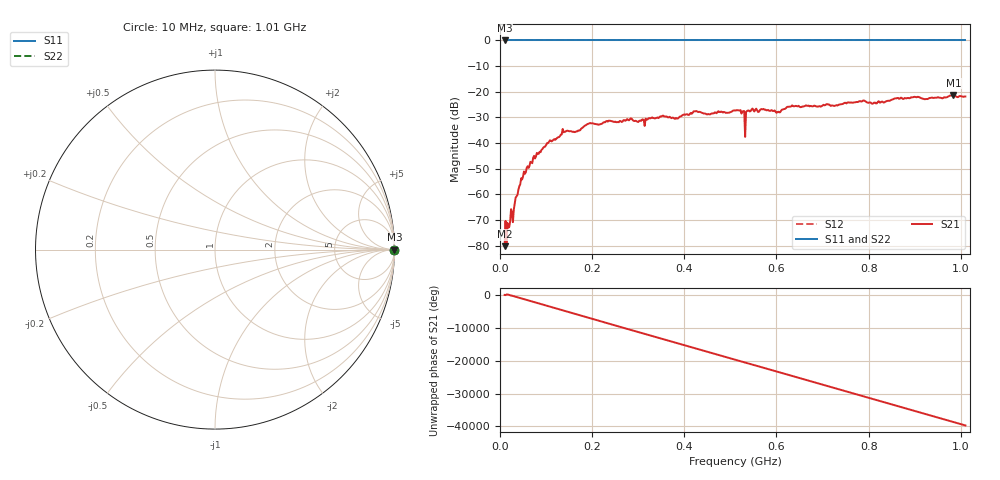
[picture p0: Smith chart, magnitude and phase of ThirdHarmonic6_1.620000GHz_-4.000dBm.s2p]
! 8/16/2025 7:20:35 PM
! C:\ANRITSUVNA\TEMP\TEMP.S2P
! CHANNEL.1
! TR.MEASUREMENT
! RAW.DATA
! RF.CORRECTION.OFF
! AVERAGING.OFF
! IF.BANDWIDTH: 5KHZ
! SWEEPTYPE:  FREQ.SWEEP(Linear)
! Reference Plane Port Info
! PORT:  PORT1  PORT2
! DISTANCE:  0  m  0  m
! TIME:  0  s  0  s
! PHASE.OFFSET:  0  deg.  0  deg.
! LOSS:  0  dB  0  dB
! REF.LOSS:  0  dB  0  dB
! REF.FREQ:  0  Hz  0  Hz
! Power Info
! POWER:  -20  dBm  -20  dBm
! EFF.POWER:  -20  dBm  -20  dBm
! SOURCE.ATTEN:  0  dB  0  dB
! TEST.ATTEN:  0  dB  0  dB
# GHZ S RI R 50.0
! FREQ.GHZ  S11RE  S11IM  S21RE  S21IM  S12RE  S12IM  S22RE  S22IM
!; PortSelection: Port_12
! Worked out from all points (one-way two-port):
!   501 points, 10 MHz to 1.01 GHz, reference 50 ohm
!   highest |S21| = -21.25 dB at 984 MHz (marker M1); lowest = -80.3 dB at 10 MHz (marker M2)
!   lowest |S11| = 0.0 dB at 10 MHz (marker M3)
!   |S11| at or under -10 dB: nowhere
!   |S22| runs from 0.0 to 0.0 dB; largest |S21 - S12| = 1.1
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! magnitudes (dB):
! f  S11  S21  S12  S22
! 10 MHz  0.0  -80.3  0.0  0.0
! 48 MHz  0.0  -54.2  0.0  0.0
! 70 MHz  0.0  -47.9  0.0  0.0
! 106 MHz  0.0  -39.6  0.0  0.0
! 140 MHz  0.0  -35.6  0.0  0.0
! 178 MHz  0.0  -34.2  0.0  0.0
! 196 MHz  0.0  -32.2  0.0  0.0
! 344 MHz  0.0  -30.3  0.0  0.0
! 384 MHz  0.0  -30.5  0.0  0.0
! 424 MHz  0.0  -27.6  0.0  0.0
! 452 MHz  0.0  -28.7  0.0  0.0
! 510 MHz  0.0  -27.3  0.0  0.0
! 526 MHz  0.0  -27.7  0.0  0.0
! 528 MHz  0.0  -27.6  0.0  0.0
! 536 MHz  0.0  -27.5  0.0  0.0
! 544 MHz  0.0  -27.5  0.0  0.0
! 604 MHz  0.0  -27.8  0.0  0.0
! 630 MHz  0.0  -25.8  0.0  0.0
! 678 MHz  0.0  -25.7  0.0  0.0
! 844 MHz  0.0  -23.5  0.0  0.0
! 984 MHz  0.0  -21.3  0.0  0.0
! 1.01 GHz  0.0  -21.9  0.0  0.0
